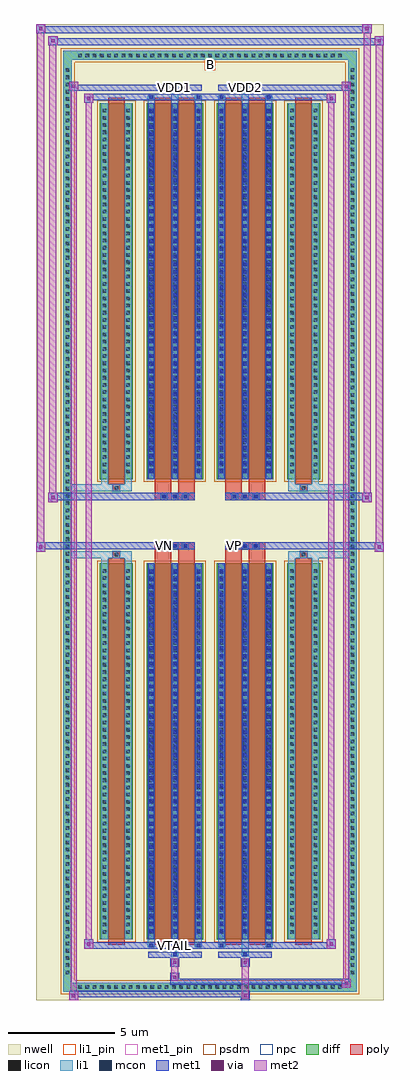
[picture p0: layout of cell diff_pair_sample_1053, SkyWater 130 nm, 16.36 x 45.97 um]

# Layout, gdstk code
import gdstk
lib = gdstk.Library(unit=1e-6, precision=5e-09)
def R(c, l, rs):  # rectangles x0, y0, x1, y1
    for r in rs: c.add(gdstk.rectangle(r[:2], r[2:], *l))
def A(c, l, x, y, w, h, nx, ny, dx, dy):  # array of equal rectangles
    R(c, l, [(x+i*dx, y+j*dy, x+i*dx+w, y+j*dy+h) for i in range(nx) for j in range(ny)])
def P(c, l, *ps):  # polygons
    for p in ps: c.add(gdstk.Polygon(p, *l))
nwell = (64, 20)
diff = (65, 20)
poly = (66, 20)
licon = (66, 44)
li1_pin = (67, 16)
li1 = (67, 20)
mcon = (67, 44)
met1_pin = (68, 16)
met1 = (68, 20)
via = (68, 44)
met2 = (69, 20)
psdm = (94, 20)
npc = (95, 20)

diff_pair_sample_1053 = lib.new_cell('diff_pair_sample_1053')
R(diff_pair_sample_1053, nwell, [(-8.18,-22.55,8.18,23.42), (-5.5,-20.74,-0.01,-0.8), (0.01,-20.74,5.5,-0.8), (-5.5,0.8,-0.01,20.74), (0.01,0.8,5.5,20.74)])
A(diff_pair_sample_1053, diff, -6.325, -22.15, 0.41, 0.41, 37, 2, 0.34, 43.89)
A(diff_pair_sample_1053, diff, -6.91, -21.455, 0.41, 0.41, 1, 126, 0, 0.34)
A(diff_pair_sample_1053, diff, 6.5, -21.455, 0.41, 0.41, 1, 126, 0, 0.34)
R(diff_pair_sample_1053, diff, [(-6.325,-22.15,6.325,-21.74), (-6.91,-21.455,-6.5,21.455), (6.5,-21.455,6.91,21.455), (-5.19,-19.695,-3.63,-1.985), (-2.99,-19.695,-0.32,-1.985), (0.32,-19.695,2.99,-1.985), (3.63,-19.695,5.19,-1.985), (-5.19,1.985,-3.63,19.695), (-2.99,1.985,-0.32,19.695), (0.32,1.985,2.99,19.695), (3.63,1.985,5.19,19.695), (-6.325,21.74,6.325,22.15)])
P(diff_pair_sample_1053, diff, [(6.91,22.15),(-6.91,22.15),(-6.91,-21.74),(-6.5,-21.74),(-6.5,21.74),(6.5,21.74),(6.5,-21.74),(-6.5,-21.74),(-6.91,-21.74),(-6.91,-22.15),(6.91,-22.15)])
A(diff_pair_sample_1053, poly, -2.32, -1.33, 0.33, 0.33, 3, 2, 0.5, 2.33)
A(diff_pair_sample_1053, poly, 0.99, -1.33, 0.33, 0.33, 3, 2, 0.5, 2.33)
R(diff_pair_sample_1053, poly, [(-4.8,-19.945,-4.02,-1.735), (-2.6,-19.945,-1.82,-1.735), (-1.49,-19.945,-0.71,-1.735), (0.71,-19.945,1.49,-1.735), (1.82,-19.945,2.6,-1.735), (4.02,-19.945,4.8,-1.735), (-4.575,-1.735,-4.245,-1.405), (-4.575,-1.735,-4.245,-1.405), (-2.6,-1.735,-1.82,-1.33), (-1.49,-1.735,-0.71,-1.33), (0.71,-1.735,1.49,-1.33), (1.82,-1.735,2.6,-1.33), (4.245,-1.735,4.575,-1.405), (4.245,-1.735,4.575,-1.405), (-2.6,-1.33,-0.71,-1), (0.71,-1.33,2.6,-1), (-2.6,1,-0.71,1.33), (0.71,1,2.6,1.33), (-2.6,1.33,-1.82,1.735), (-1.49,1.33,-0.71,1.735), (0.71,1.33,1.49,1.735), (1.82,1.33,2.6,1.735), (-4.575,1.405,-4.245,1.735), (-4.575,1.405,-4.245,1.735), (4.245,1.405,4.575,1.735), (4.245,1.405,4.575,1.735), (-4.8,1.735,-4.02,19.945), (-2.6,1.735,-1.82,19.945), (-1.49,1.735,-0.71,19.945), (0.71,1.735,1.49,19.945), (1.82,1.735,2.6,19.945), (4.02,1.735,4.8,19.945)])
A(diff_pair_sample_1053, licon, -6.205, -22.03, 0.17, 0.17, 37, 2, 0.34, 43.89)
A(diff_pair_sample_1053, licon, -6.79, -21.335, 0.17, 0.17, 1, 126, 0, 0.34)
A(diff_pair_sample_1053, licon, 6.62, -21.335, 0.17, 0.17, 1, 126, 0, 0.34)
A(diff_pair_sample_1053, licon, -5.05, -19.425, 0.17, 0.17, 1, 51, 0, 0.34)
A(diff_pair_sample_1053, licon, -3.94, -19.425, 0.17, 0.17, 1, 51, 0, 0.34)
A(diff_pair_sample_1053, licon, -2.85, -19.425, 0.17, 0.17, 3, 51, 1.11, 0.34)
A(diff_pair_sample_1053, licon, 0.46, -19.425, 0.17, 0.17, 3, 51, 1.11, 0.34)
A(diff_pair_sample_1053, licon, 3.77, -19.425, 0.17, 0.17, 1, 51, 0, 0.34)
A(diff_pair_sample_1053, licon, 4.88, -19.425, 0.17, 0.17, 1, 51, 0, 0.34)
A(diff_pair_sample_1053, licon, -2.24, -1.25, 0.17, 0.17, 3, 2, 0.5, 2.33)
A(diff_pair_sample_1053, licon, 1.07, -1.25, 0.17, 0.17, 3, 2, 0.5, 2.33)
A(diff_pair_sample_1053, licon, -5.05, 2.255, 0.17, 0.17, 1, 51, 0, 0.34)
A(diff_pair_sample_1053, licon, -3.94, 2.255, 0.17, 0.17, 1, 51, 0, 0.34)
A(diff_pair_sample_1053, licon, -2.85, 2.255, 0.17, 0.17, 3, 51, 1.11, 0.34)
A(diff_pair_sample_1053, licon, 0.46, 2.255, 0.17, 0.17, 3, 51, 1.11, 0.34)
A(diff_pair_sample_1053, licon, 3.77, 2.255, 0.17, 0.17, 1, 51, 0, 0.34)
A(diff_pair_sample_1053, licon, 4.88, 2.255, 0.17, 0.17, 1, 51, 0, 0.34)
R(diff_pair_sample_1053, licon, [(-4.495,-1.655,-4.325,-1.485), (4.325,-1.655,4.495,-1.485), (-4.495,1.485,-4.325,1.655), (4.325,1.485,4.495,1.655)])
R(diff_pair_sample_1053, li1_pin, [(-0.25,21.24,0.25,21.74)])
A(diff_pair_sample_1053, li1, -6.285, -22.11, 0.33, 0.33, 37, 2, 0.34, 43.89)
A(diff_pair_sample_1053, li1, -6.87, -21.415, 0.33, 0.33, 1, 126, 0, 0.34)
A(diff_pair_sample_1053, li1, 6.54, -21.415, 0.33, 0.33, 1, 126, 0, 0.34)
A(diff_pair_sample_1053, li1, -2.93, -19.695, 0.33, 17.71, 3, 2, 1.11, 21.68)
A(diff_pair_sample_1053, li1, 0.38, -19.695, 0.33, 17.71, 3, 2, 1.11, 21.68)
A(diff_pair_sample_1053, li1, -5.13, -19.505, 0.33, 0.33, 1, 51, 0, 0.34)
A(diff_pair_sample_1053, li1, -4.02, -19.505, 0.33, 0.33, 1, 51, 0, 0.34)
A(diff_pair_sample_1053, li1, -2.93, -19.505, 0.33, 0.33, 3, 51, 1.11, 0.34)
A(diff_pair_sample_1053, li1, 0.38, -19.505, 0.33, 0.33, 3, 51, 1.11, 0.34)
A(diff_pair_sample_1053, li1, 3.69, -19.505, 0.33, 0.33, 1, 51, 0, 0.34)
A(diff_pair_sample_1053, li1, 4.8, -19.505, 0.33, 0.33, 1, 51, 0, 0.34)
A(diff_pair_sample_1053, li1, -2.85, -19.385, 0.17, 0.17, 3, 48, 1.11, 0.36)
A(diff_pair_sample_1053, li1, -2.85, -19.385, 0.17, 17.09, 3, 2, 1.11, 21.68)
A(diff_pair_sample_1053, li1, 0.46, -19.385, 0.17, 0.17, 3, 48, 1.11, 0.36)
A(diff_pair_sample_1053, li1, 0.46, -19.385, 0.17, 17.09, 3, 2, 1.11, 21.68)
A(diff_pair_sample_1053, li1, -2.32, -1.33, 0.33, 0.33, 3, 2, 0.5, 2.33)
A(diff_pair_sample_1053, li1, 0.99, -1.33, 0.33, 0.33, 3, 2, 0.5, 2.33)
A(diff_pair_sample_1053, li1, -5.13, 2.175, 0.33, 0.33, 1, 51, 0, 0.34)
A(diff_pair_sample_1053, li1, -4.02, 2.175, 0.33, 0.33, 1, 51, 0, 0.34)
A(diff_pair_sample_1053, li1, -2.93, 2.175, 0.33, 0.33, 3, 51, 1.11, 0.34)
A(diff_pair_sample_1053, li1, 0.38, 2.175, 0.33, 0.33, 3, 51, 1.11, 0.34)
A(diff_pair_sample_1053, li1, 3.69, 2.175, 0.33, 0.33, 1, 51, 0, 0.34)
A(diff_pair_sample_1053, li1, 4.8, 2.175, 0.33, 0.33, 1, 51, 0, 0.34)
A(diff_pair_sample_1053, li1, -2.85, 2.295, 0.17, 0.17, 3, 48, 1.11, 0.36)
A(diff_pair_sample_1053, li1, 0.46, 2.295, 0.17, 0.17, 3, 48, 1.11, 0.36)
R(diff_pair_sample_1053, li1, [(-6.91,-22.15,-6.5,-21.74), (-6.91,-22.15,-6.5,-21.74), (-6.5,-22.15,6.5,-21.74), (6.5,-22.15,6.91,-21.74), (6.5,-22.15,6.91,-21.74), (-6.91,-21.74,-6.5,21.74), (6.5,-21.74,6.91,21.74), (-1.82,-20.5,-1.49,-19.695), (-1.74,-20.5,-1.57,-20.33), (1.49,-20.5,1.82,-19.695), (1.57,-20.5,1.74,-20.33), (-2.93,-20.07,-2.6,-19.695), (-2.85,-20.07,-2.68,-19.9), (-0.71,-20.07,-0.38,-19.695), (-0.63,-20.07,-0.46,-19.9), (0.38,-20.07,0.71,-19.695), (0.46,-20.07,0.63,-19.9), (2.6,-20.07,2.93,-19.695), (2.68,-20.07,2.85,-19.9), (-5.13,-19.695,-4.8,-1.985), (-4.02,-19.695,-3.69,-1.985), (3.69,-19.695,4.02,-1.985), (4.8,-19.695,5.13,-1.985), (-5.13,-1.985,-4.8,-1.405), (-4.02,-1.985,-3.69,-1.405), (3.69,-1.985,4.02,-1.405), (4.8,-1.985,5.13,-1.405), (-6.91,-1.735,-4.575,-1.405), (-5.13,-1.735,-4.575,-1.405), (-4.575,-1.735,-4.245,-1.405), (-4.245,-1.735,-3.69,-1.405), (3.69,-1.735,4.245,-1.405), (4.245,-1.735,4.575,-1.405), (4.245,-1.735,6.91,-1.405), (4.575,-1.735,5.13,-1.405), (-6.91,1.405,-4.575,1.735), (-5.13,1.405,-4.575,1.735), (-5.13,1.405,-4.8,1.985), (-4.575,1.405,-4.245,1.735), (-4.245,1.405,-3.69,1.735), (-4.02,1.405,-3.69,1.985), (3.69,1.405,4.245,1.735), (3.69,1.405,4.02,1.985), (4.245,1.405,4.575,1.735), (4.245,1.405,6.91,1.735), (4.575,1.405,5.13,1.735), (4.8,1.405,5.13,1.985), (-5.13,1.985,-4.8,19.695), (-4.02,1.985,-3.69,19.695), (3.69,1.985,4.02,19.695), (4.8,1.985,5.13,19.695), (-2.93,19.695,-2.6,20.07), (-1.82,19.695,-1.49,20.5), (-0.71,19.695,-0.38,20.07), (0.38,19.695,0.71,20.07), (1.49,19.695,1.82,20.5), (2.6,19.695,2.93,20.07), (-2.85,19.9,-2.68,20.07), (-0.63,19.9,-0.46,20.07), (0.46,19.9,0.63,20.07), (2.68,19.9,2.85,20.07), (-1.74,20.33,-1.57,20.5), (1.57,20.33,1.74,20.5), (-6.91,21.74,-6.5,22.15), (-6.91,21.74,-6.5,22.15), (-6.5,21.74,6.5,22.15), (6.5,21.74,6.91,22.15), (6.5,21.74,6.91,22.15)])
A(diff_pair_sample_1053, mcon, -2.85, -19.385, 0.17, 0.17, 3, 48, 1.11, 0.36)
A(diff_pair_sample_1053, mcon, 0.46, -19.385, 0.17, 0.17, 3, 48, 1.11, 0.36)
A(diff_pair_sample_1053, mcon, -2.24, -1.25, 0.17, 0.17, 3, 2, 0.5, 2.33)
A(diff_pair_sample_1053, mcon, 1.07, -1.25, 0.17, 0.17, 3, 2, 0.5, 2.33)
A(diff_pair_sample_1053, mcon, -2.85, 2.295, 0.17, 0.17, 3, 48, 1.11, 0.36)
A(diff_pair_sample_1053, mcon, 0.46, 2.295, 0.17, 0.17, 3, 48, 1.11, 0.36)
R(diff_pair_sample_1053, mcon, [(-1.74,-20.5,-1.57,-20.33), (1.57,-20.5,1.74,-20.33), (-2.85,-20.07,-2.68,-19.9), (-0.63,-20.07,-0.46,-19.9), (0.46,-20.07,0.63,-19.9), (2.68,-20.07,2.85,-19.9), (-2.85,19.9,-2.68,20.07), (-0.63,19.9,-0.46,20.07), (0.46,19.9,0.63,20.07), (2.68,19.9,2.85,20.07), (-1.74,20.33,-1.57,20.5), (1.57,20.33,1.74,20.5)])
R(diff_pair_sample_1053, met1_pin, [(-1.79,-20.11,-1.52,-19.84), (-2.29,-1.29,-2.02,-1.02), (1.02,-1.29,1.29,-1.02), (-1.79,20.29,-1.52,20.56), (1.52,20.29,1.79,20.56)])
A(diff_pair_sample_1053, met1, -2.91, -19.695, 0.29, 17.71, 3, 2, 1.11, 21.68)
A(diff_pair_sample_1053, met1, 0.4, -19.695, 0.29, 17.71, 3, 2, 1.11, 21.68)
A(diff_pair_sample_1053, met1, -2.91, -19.445, 0.29, 0.29, 3, 48, 1.11, 0.36)
A(diff_pair_sample_1053, met1, 0.4, -19.445, 0.29, 0.29, 3, 48, 1.11, 0.36)
A(diff_pair_sample_1053, met1, -2.3, -1.31, 0.29, 0.29, 3, 2, 0.5, 2.33)
A(diff_pair_sample_1053, met1, 1.01, -1.31, 0.29, 0.29, 3, 2, 0.5, 2.33)
A(diff_pair_sample_1053, met1, -2.91, 2.235, 0.29, 0.29, 3, 48, 1.11, 0.36)
A(diff_pair_sample_1053, met1, 0.4, 2.235, 0.29, 0.29, 3, 48, 1.11, 0.36)
R(diff_pair_sample_1053, met1, [(-6.64,-22.55,-6.21,-22.12), (1.44,-22.55,1.87,-22.12), (-6.64,-22.41,1.87,-22.12), (6.21,-21.98,6.64,-21.55), (-1.87,-21.84,6.64,-21.55), (-1.87,-21.7,-1.44,-21.27), (-1.87,-20.99,-1.44,-20.56), (1.44,-20.99,1.87,-20.56), (-2.91,-20.56,-0.4,-20.27), (-1.8,-20.56,-1.51,-20.27), (0.4,-20.56,2.91,-20.27), (1.51,-20.56,1.8,-20.27), (-5.93,-20.13,-5.5,-19.7), (-5.93,-20.13,-2.91,-19.84), (-2.91,-20.13,-2.62,-19.84), (-2.91,-20.13,-0.4,-19.84), (-0.69,-20.13,-0.4,-19.84), (-0.4,-20.13,0.4,-19.84), (0.4,-20.13,0.69,-19.84), (0.4,-20.13,2.91,-19.84), (2.62,-20.13,2.91,-19.84), (2.91,-20.13,5.93,-19.84), (5.5,-20.13,5.93,-19.7), (-8.18,-1.43,-7.75,-1), (7.75,-1.43,8.18,-1), (-8.18,-1.33,-0.71,-1), (-2.6,-1.33,-0.71,-1), (0.71,-1.33,2.6,-1), (0.71,-1.33,8.18,-1), (-7.61,0.9,-7.18,1.33), (7.18,0.9,7.61,1.33), (-7.61,1,-2.6,1.33), (-2.6,1,-0.71,1.33), (0.71,1,2.6,1.33), (2.6,1,7.61,1.33), (-5.93,19.7,-5.5,20.13), (5.5,19.7,5.93,20.13), (-5.93,19.84,-2.91,20.13), (-2.91,19.84,-2.62,20.13), (-2.91,19.84,-0.4,20.13), (-0.69,19.84,-0.4,20.13), (-0.4,19.84,0.4,20.13), (0.4,19.84,0.69,20.13), (0.4,19.84,2.91,20.13), (2.62,19.84,2.91,20.13), (2.91,19.84,5.93,20.13), (-6.64,20.27,-6.21,20.7), (-6.64,20.27,-2.91,20.56), (-2.91,20.27,-0.4,20.56), (-1.8,20.27,-1.51,20.56), (0.4,20.27,2.91,20.56), (1.51,20.27,1.8,20.56), (2.91,20.27,6.64,20.56), (6.21,20.27,6.64,20.7), (-7.61,22.42,-7.18,22.85), (-7.61,22.42,-5.5,22.75), (-5.5,22.42,5.5,22.75), (5.5,22.42,8.18,22.75), (7.75,22.42,8.18,22.85), (-8.18,22.99,-7.75,23.42), (-8.18,22.99,-5.5,23.32), (-5.5,22.99,5.5,23.32), (5.5,22.99,7.61,23.32), (7.18,22.99,7.61,23.42)])
R(diff_pair_sample_1053, via, [(-6.5,-22.41,-6.35,-22.26), (1.58,-22.41,1.73,-22.26), (6.35,-21.84,6.5,-21.69), (-1.73,-21.56,-1.58,-21.41), (-1.73,-20.85,-1.58,-20.7), (1.58,-20.85,1.73,-20.7), (-5.79,-19.99,-5.64,-19.84), (5.64,-19.99,5.79,-19.84), (-8.04,-1.29,-7.89,-1.14), (7.89,-1.29,8.04,-1.14), (-7.47,1.04,-7.32,1.19), (7.32,1.04,7.47,1.19), (-5.79,19.84,-5.64,19.99), (5.64,19.84,5.79,19.99), (-6.5,20.41,-6.35,20.56), (6.35,20.41,6.5,20.56), (-7.47,22.56,-7.32,22.71), (7.89,22.56,8.04,22.71), (-8.04,23.13,-7.89,23.28), (7.32,23.13,7.47,23.28)])
R(diff_pair_sample_1053, met2, [(-6.64,-22.55,-6.21,-22.12), (-6.57,-22.55,-6.28,20.7), (-6.28,-22.55,-6.21,-22.12), (-6.59,-22.5,-6.26,-22.17), (1.49,-22.5,1.82,-22.17), (1.49,-22.17,1.82,-20.94), (6.21,-21.98,6.64,-21.55), (6.28,-21.98,6.57,20.7), (6.57,-21.98,6.64,-21.55), (6.26,-21.93,6.59,-21.6), (-1.82,-21.65,-1.49,-21.32), (-1.82,-21.32,-1.49,-20.94), (-1.82,-20.94,-1.49,-20.61), (1.49,-20.94,1.82,-20.61), (-5.93,-20.13,-5.5,-19.7), (-5.86,-20.13,-5.57,20.13), (-5.57,-20.13,-5.5,-19.7), (5.5,-20.13,5.93,-19.7), (5.57,-20.13,5.86,20.13), (5.86,-20.13,5.93,-19.7), (-5.88,-20.08,-5.55,-19.75), (5.55,-20.08,5.88,-19.75), (-8.18,-1.43,-7.75,-1), (-8.13,-1.43,-7.8,23.42), (-7.8,-1.43,-7.75,-1), (7.75,-1.43,8.18,-1), (7.8,-1.43,8.13,22.85), (8.13,-1.43,8.18,-1), (-8.13,-1.38,-7.8,-1.05), (7.8,-1.38,8.13,-1.05), (-7.61,0.9,-7.18,1.33), (-7.56,0.9,-7.23,22.85), (-7.23,0.9,-7.18,1.33), (7.18,0.9,7.61,1.33), (7.23,0.9,7.56,23.42), (7.56,0.9,7.61,1.33), (-7.56,0.95,-7.23,1.28), (7.23,0.95,7.56,1.28), (-5.93,19.7,-5.5,20.13), (-5.57,19.7,-5.5,20.13), (5.5,19.7,5.93,20.13), (5.86,19.7,5.93,20.13), (-5.88,19.75,-5.55,20.08), (5.55,19.75,5.88,20.08), (-6.64,20.27,-6.21,20.7), (-6.28,20.27,-6.21,20.7), (6.21,20.27,6.64,20.7), (6.57,20.27,6.64,20.7), (-6.59,20.32,-6.26,20.65), (6.26,20.32,6.59,20.65), (-7.61,22.42,-7.18,22.85), (-7.23,22.42,-7.18,22.85), (7.75,22.42,8.18,22.85), (8.13,22.42,8.18,22.85), (-7.56,22.47,-7.23,22.8), (7.8,22.47,8.13,22.8), (-8.18,22.99,-7.75,23.42), (-7.8,22.99,-7.75,23.42), (7.18,22.99,7.61,23.42), (7.56,22.99,7.61,23.42), (-8.13,23.04,-7.8,23.37), (7.23,23.04,7.56,23.37)])
R(diff_pair_sample_1053, psdm, [(-5.32,-19.825,-3.5,-1.855), (-3.12,-19.825,-0.19,-1.855), (0.19,-19.825,3.12,-1.855), (3.5,-19.825,5.32,-1.855), (-5.32,1.855,-3.5,19.825), (-3.12,1.855,-0.19,19.825), (0.19,1.855,3.12,19.825), (3.5,1.855,5.32,19.825)])
P(diff_pair_sample_1053, psdm, [(7.04,22.28),(-7.04,22.28),(-7.04,-21.61),(-6.37,-21.61),(-6.37,21.61),(6.37,21.61),(6.37,-21.61),(-6.37,-21.61),(-7.04,-21.61),(-7.04,-22.28),(7.04,-22.28)])
A(diff_pair_sample_1053, npc, -2.34, -1.35, 0.37, 0.37, 3, 2, 0.5, 2.33)
A(diff_pair_sample_1053, npc, 0.97, -1.35, 0.37, 0.37, 3, 2, 0.5, 2.33)
R(diff_pair_sample_1053, npc, [(-4.595,-1.755,-4.225,-1.385), (4.225,-1.755,4.595,-1.385), (-2.34,-1.35,-1.47,-0.98), (-2.34,-1.35,-1.47,-0.98), (-1.84,-1.35,-0.97,-0.98), (-1.84,-1.35,-0.97,-0.98), (0.97,-1.35,1.84,-0.98), (0.97,-1.35,1.84,-0.98), (1.47,-1.35,2.34,-0.98), (1.47,-1.35,2.34,-0.98), (-2.34,0.98,-1.47,1.35), (-2.34,0.98,-1.47,1.35), (-1.84,0.98,-0.97,1.35), (-1.84,0.98,-0.97,1.35), (0.97,0.98,1.84,1.35), (0.97,0.98,1.84,1.35), (1.47,0.98,2.34,1.35), (1.47,0.98,2.34,1.35), (-4.595,1.385,-4.225,1.755), (4.225,1.385,4.595,1.755)])
diff_pair_sample_1053.add(gdstk.Label('VTAIL', (-1.655,-19.975), layer=68, texttype=5))
diff_pair_sample_1053.add(gdstk.Label('VN', (-2.155,-1.155), layer=68, texttype=5))
diff_pair_sample_1053.add(gdstk.Label('VP', (1.155,-1.155), layer=68, texttype=5))
diff_pair_sample_1053.add(gdstk.Label('B', (0,21.49), layer=67, texttype=5))
diff_pair_sample_1053.add(gdstk.Label('VDD2', (1.655,20.425), layer=68, texttype=5))
diff_pair_sample_1053.add(gdstk.Label('VDD1', (-1.655,20.425), layer=68, texttype=5))

lib.write_gds('diff_pair_sample_1053.gds')
